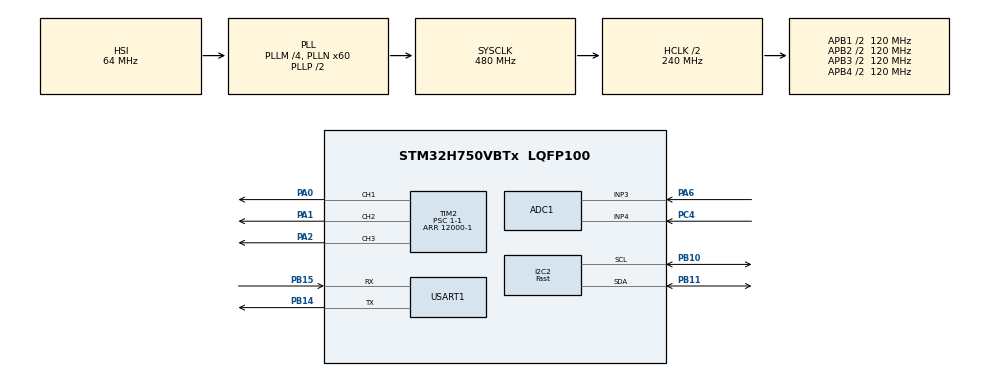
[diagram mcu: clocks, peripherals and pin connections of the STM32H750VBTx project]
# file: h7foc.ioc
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ADC1.Channel-0\#ChannelRegularConversion=ADC_CHANNEL_4
ADC1.Channel-1\#ChannelRegularConversion=ADC_CHANNEL_3
ADC1.NbrOfConversion=2
ADC1.NbrOfConversionFlag=1
ADC1.OffsetNumber-0\#ChannelRegularConversion=ADC_OFFSET_NONE
ADC1.OffsetNumber-1\#ChannelRegularConversion=ADC_OFFSET_NONE
ADC1.OffsetSignedSaturation-0\#ChannelRegularConversion=DISABLE
ADC1.OffsetSignedSaturation-1\#ChannelRegularConversion=DISABLE
ADC1.Rank-0\#ChannelRegularConversion=1
ADC1.Rank-1\#ChannelRegularConversion=2
ADC1.SamplingTime-0\#ChannelRegularConversion=ADC_SAMPLETIME_1CYCLE_5
ADC1.SamplingTime-1\#ChannelRegularConversion=ADC_SAMPLETIME_1CYCLE_5
ADC1.master=1
CORTEX_M7.default_mode_Activation=1
Dma.ADC1.0.Direction=DMA_PERIPH_TO_MEMORY
Dma.ADC1.0.EventEnable=DISABLE
Dma.ADC1.0.FIFOMode=DMA_FIFOMODE_DISABLE
Dma.ADC1.0.Instance=DMA1_Stream0
Dma.ADC1.0.MemDataAlignment=DMA_MDATAALIGN_HALFWORD
Dma.ADC1.0.MemInc=DMA_MINC_ENABLE
Dma.ADC1.0.Mode=DMA_NORMAL
Dma.ADC1.0.PeriphDataAlignment=DMA_PDATAALIGN_HALFWORD
Dma.ADC1.0.PeriphInc=DMA_PINC_DISABLE
Dma.ADC1.0.Polarity=HAL_DMAMUX_REQ_GEN_RISING
Dma.ADC1.0.Priority=DMA_PRIORITY_LOW
Dma.ADC1.0.RequestNumber=1
Dma.ADC1.0.SignalID=NONE
Dma.ADC1.0.SyncEnable=DISABLE
Dma.ADC1.0.SyncPolarity=HAL_DMAMUX_SYNC_NO_EVENT
Dma.ADC1.0.SyncRequestNumber=1
Dma.ADC1.0.SyncSignalID=NONE
Dma.Request0=ADC1
I2C2.I2C_Speed_Mode=I2C_Fast
I2C2.Timing=0x00B03FDB
Mcu.Family=STM32H7
Mcu.Name=STM32H750VBTx
Mcu.Package=LQFP100
NVIC.DMA1_Stream0_IRQn=true\:0\:0\:false\:false\:true\:false\:true\:true
NVIC.PriorityGroup=NVIC_PRIORITYGROUP_4
PA0.Signal=S_TIM2_CH1_ETR
PA1.Signal=S_TIM2_CH2
PA13\ (JTMS/SWDIO).Mode=Serial_Wire
PA13\ (JTMS/SWDIO).Signal=DEBUG_JTMS-SWDIO
PA14\ (JTCK/SWCLK).Mode=Serial_Wire
PA14\ (JTCK/SWCLK).Signal=DEBUG_JTCK-SWCLK
PA2.Signal=S_TIM2_CH3
PA6.Signal=ADCx_INP3
PB10.Mode=I2C
PB10.Signal=I2C2_SCL
PB11.Mode=I2C
PB11.Signal=I2C2_SDA
PB14.Mode=Asynchronous
PB14.Signal=USART1_TX
PB15.Mode=Asynchronous
PB15.Signal=USART1_RX
PC4.Signal=ADCx_INP4
ProjectManager.HeapSize=0x200
ProjectManager.StackSize=0x400
ProjectManager.TargetToolchain=MDK-ARM V5.32
RCC.ADCFreq_Value=75000000
RCC.APB1Freq_Value=120000000
RCC.APB2Freq_Value=120000000
RCC.APB3Freq_Value=120000000
RCC.APB4Freq_Value=120000000
RCC.CortexFreq_Value=480000000
RCC.D1PPRE=RCC_APB3_DIV2
RCC.D2PPRE1=RCC_APB1_DIV2
RCC.D2PPRE2=RCC_APB2_DIV2
RCC.D3PPRE=RCC_APB4_DIV2
RCC.DIVM1=4
RCC.DIVM2=4
RCC.DIVN1=60
RCC.DIVN2=9
RCC.HCLKFreq_Value=240000000
RCC.HPRE=RCC_HCLK_DIV2
RCC.PLL2FRACN=3072
RCC.PLL3FRACN=0
RCC.PLLFRACN=0
RCC.SYSCLKFreq_VALUE=480000000
RCC.SYSCLKSource=RCC_SYSCLKSOURCE_PLLCLK
RCC.USBFreq_Value=480000000
SH.ADCx_INP3.0=ADC1_INP3,IN3-Single-Ended
SH.ADCx_INP4.0=ADC1_INP4,IN4-Single-Ended
SH.S_TIM2_CH1_ETR.0=TIM2_CH1,PWM Generation1 CH1
SH.S_TIM2_CH2.0=TIM2_CH2,PWM Generation2 CH2
SH.S_TIM2_CH3.0=TIM2_CH3,PWM Generation3 CH3
TIM2.AutoReloadPreload=TIM_AUTORELOAD_PRELOAD_ENABLE
TIM2.Channel-PWM\ Generation1\ CH1=TIM_CHANNEL_1
TIM2.Channel-PWM\ Generation2\ CH2=TIM_CHANNEL_2
TIM2.Channel-PWM\ Generation3\ CH3=TIM_CHANNEL_3
TIM2.Period=12000-1
TIM2.Prescaler=1-1
USART1.VirtualMode-Asynchronous=VM_ASYNC
VP_TIM2_VS_ClockSourceINT.Mode=Internal
board=custom

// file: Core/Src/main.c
/* USER CODE BEGIN Header */
/**
  ******************************************************************************
  * @file           : main.c
  * @brief          : Main program body
  ******************************************************************************
  * @attention
  *
  * Copyright (c) 2025 STMicroelectronics.
  * All rights reserved.
  *
  * This software is licensed under terms that can be found in the LICENSE file
  * in the root directory of this software component.
  * If no LICENSE file comes with this software, it is provided AS-IS.
  *
  ******************************************************************************
  */
/* USER CODE END Header */
#include "main.h"
#include "adc.h"
#include "dma.h"
#include "i2c.h"
#include "tim.h"
#include "usart.h"
#include "gpio.h"

/* USER CODE BEGIN Includes */
#include "foc.h"
#include "pid.h"
#include "AS5600.h"
#include "filter.h"
#include "current.h"
#include "arm_math.h"
extern float angle_d;				//GetAngle_Without_Track()的返回值
extern float angle_cd;
float reload_value;
extern uint16_t Samp_volts[4];
#include "stdio.h"

extern UART_HandleTypeDef huart1;
   int fputc(int ch, FILE *f)
{
  HAL_UART_Transmit(&huart1, (uint8_t *)&ch, 1, 0xffff);
  return ch;
}

/**
  * 函数功能: 重定向c库函数getchar,scanf到DEBUG_USARTx
  * 输入参数: 无
  * 返 回 值: 无
  * 说    明：无
  */
int fgetc(FILE *f)
{
  uint8_t ch = 0;
  HAL_UART_Receive(&huart1, &ch, 1, 0xffff);
  return ch;
}
float current=0.5;
float Target=2.0;
float Angle=0;
PID_Controller_t velocity_pid;
PID_Controller_t angle_pid;
PID_Controller_t current_pid;
    float target_position = 0;  // 目标位置（单位：度）
    float max_velocity = 2.0f;    // 最大速度（单位：度/秒）
/* USER CODE END Includes */

void SystemClock_Config(void);
static void MPU_Config(void);

/* USER CODE BEGIN 0 */
float c;
/* USER CODE END 0 */

int main(void)
{

  /* MPU Configuration--------------------------------------------------------*/
  MPU_Config();

  /* MCU Configuration--------------------------------------------------------*/

  /* Reset of all peripherals, Initializes the Flash interface and the Systick. */
  HAL_Init();

  /* Configure the system clock */
  SystemClock_Config();

  /* Initialize all configured peripherals */
  MX_GPIO_Init();
  MX_DMA_Init();
  MX_ADC1_Init();
  MX_I2C2_Init();
  MX_TIM2_Init();
  MX_USART1_UART_Init();
  /* USER CODE BEGIN 2 */
	c=arm_sin_f32(3.14);
   	reload_value = SysTick->LOAD;
//  PID_Init(&velocity_pid, 4, 8, 0); // 初始化速度 PID
  PID_Init(&angle_pid, 50, 0, 20);    // 初始化角度 PID
  PID_Init(&velocity_pid, 0.5, 40.0, 0); // 初始化速度 PID
//  PID_Init(&angle_pid, 0.133f, 0.01f, 0.0);    // 初始化角度 PID
	PID_Init(&current_pid, 1.0, 100.0, 0.0);    // 初始化电流 PID
	Motor_en(); //电机使能
	FOC_Init(12);
//	printf("1\n");
   HAL_Delay(100);
  /* USER CODE END 2 */

  /* Infinite loop */
  /* USER CODE BEGIN WHILE */
  while (1)
  {
//	Set_Angle(Angle, &angle_pid); // 传递角度 PID 控制器
//     Set_Velocity(Target, &velocity_pid); // 传递速度 PID 控制器
	  M0_Set_Position_Velocity(target_position, max_velocity, &angle_pid, &velocity_pid);
    /* USER CODE END WHILE */

  }
}

void SystemClock_Config(void)
{
  RCC_OscInitTypeDef RCC_OscInitStruct = {0};
  RCC_ClkInitTypeDef RCC_ClkInitStruct = {0};

  /** Supply configuration update enable
  */
  HAL_PWREx_ConfigSupply(PWR_LDO_SUPPLY);

  /** Configure the main internal regulator output voltage
  */
  __HAL_PWR_VOLTAGESCALING_CONFIG(PWR_REGULATOR_VOLTAGE_SCALE1);

  while(!__HAL_PWR_GET_FLAG(PWR_FLAG_VOSRDY)) {}

  __HAL_RCC_SYSCFG_CLK_ENABLE();
  __HAL_PWR_VOLTAGESCALING_CONFIG(PWR_REGULATOR_VOLTAGE_SCALE0);

  while(!__HAL_PWR_GET_FLAG(PWR_FLAG_VOSRDY)) {}

  /** Initializes the RCC Oscillators according to the specified parameters
  * in the RCC_OscInitTypeDef structure.
  */
  RCC_OscInitStruct.OscillatorType = RCC_OSCILLATORTYPE_HSI;
  RCC_OscInitStruct.HSIState = RCC_HSI_DIV1;
  RCC_OscInitStruct.HSICalibrationValue = RCC_HSICALIBRATION_DEFAULT;
  RCC_OscInitStruct.PLL.PLLState = RCC_PLL_ON;
  RCC_OscInitStruct.PLL.PLLSource = RCC_PLLSOURCE_HSI;
  RCC_OscInitStruct.PLL.PLLM = 4;
  RCC_OscInitStruct.PLL.PLLN = 60;
  RCC_OscInitStruct.PLL.PLLP = 2;
  RCC_OscInitStruct.PLL.PLLQ = 2;
  RCC_OscInitStruct.PLL.PLLR = 2;
  RCC_OscInitStruct.PLL.PLLRGE = RCC_PLL1VCIRANGE_3;
  RCC_OscInitStruct.PLL.PLLVCOSEL = RCC_PLL1VCOWIDE;
  RCC_OscInitStruct.PLL.PLLFRACN = 0;
  if (HAL_RCC_OscConfig(&RCC_OscInitStruct) != HAL_OK)
  {
    Error_Handler();
  }

  /** Initializes the CPU, AHB and APB buses clocks
  */
  RCC_ClkInitStruct.ClockType = RCC_CLOCKTYPE_HCLK|RCC_CLOCKTYPE_SYSCLK
                              |RCC_CLOCKTYPE_PCLK1|RCC_CLOCKTYPE_PCLK2
                              |RCC_CLOCKTYPE_D3PCLK1|RCC_CLOCKTYPE_D1PCLK1;
  RCC_ClkInitStruct.SYSCLKSource = RCC_SYSCLKSOURCE_PLLCLK;
  RCC_ClkInitStruct.SYSCLKDivider = RCC_SYSCLK_DIV1;
  RCC_ClkInitStruct.AHBCLKDivider = RCC_HCLK_DIV2;
  RCC_ClkInitStruct.APB3CLKDivider = RCC_APB3_DIV2;
  RCC_ClkInitStruct.APB1CLKDivider = RCC_APB1_DIV2;
  RCC_ClkInitStruct.APB2CLKDivider = RCC_APB2_DIV2;
  RCC_ClkInitStruct.APB4CLKDivider = RCC_APB4_DIV2;

  if (HAL_RCC_ClockConfig(&RCC_ClkInitStruct, FLASH_LATENCY_4) != HAL_OK)
  {
    Error_Handler();
  }
}

 /* MPU Configuration */

void MPU_Config(void)
{
  MPU_Region_InitTypeDef MPU_InitStruct = {0};

  /* Disables the MPU */
  HAL_MPU_Disable();

  /** Initializes and configures the Region and the memory to be protected
  */
  MPU_InitStruct.Enable = MPU_REGION_ENABLE;
  MPU_InitStruct.Number = MPU_REGION_NUMBER0;
  MPU_InitStruct.BaseAddress = 0x0;
  MPU_InitStruct.Size = MPU_REGION_SIZE_4GB;
  MPU_InitStruct.SubRegionDisable = 0x87;
  MPU_InitStruct.TypeExtField = MPU_TEX_LEVEL0;
  MPU_InitStruct.AccessPermission = MPU_REGION_NO_ACCESS;
  MPU_InitStruct.DisableExec = MPU_INSTRUCTION_ACCESS_DISABLE;
  MPU_InitStruct.IsShareable = MPU_ACCESS_SHAREABLE;
  MPU_InitStruct.IsCacheable = MPU_ACCESS_NOT_CACHEABLE;
  MPU_InitStruct.IsBufferable = MPU_ACCESS_NOT_BUFFERABLE;

  HAL_MPU_ConfigRegion(&MPU_InitStruct);
  /* Enables the MPU */
  HAL_MPU_Enable(MPU_PRIVILEGED_DEFAULT);

}

void Error_Handler(void)
{
  __disable_irq();
  while (1)
  {
  }
}
